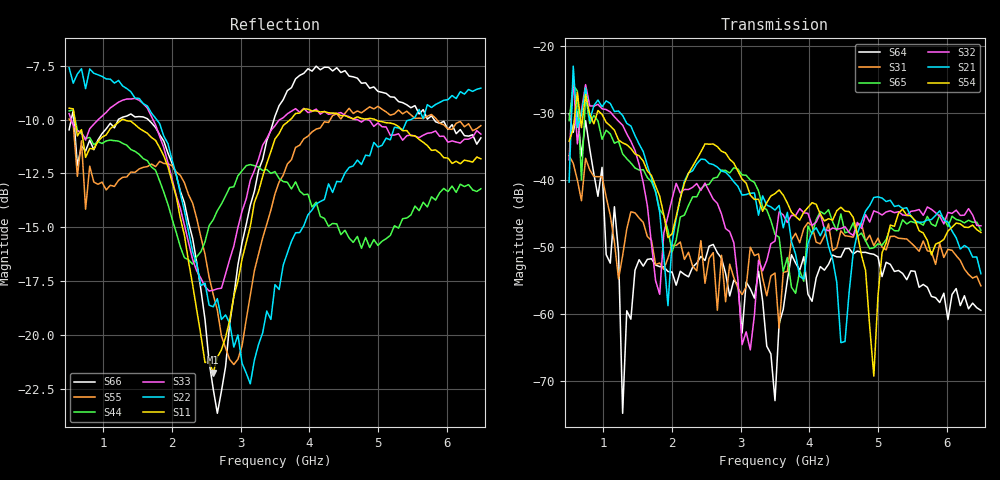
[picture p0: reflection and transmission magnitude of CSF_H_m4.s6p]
!Keysight Technologies,M9804A,MY58100912,A.14.10.03
!Date: Thursday, April 27, 2023 10:28:33
!Correction: S11(C  6-Port  )
!S12(C  6-Port  )
!S13(C  6-Port  )
!S14(C  6-Port  )
!S15(C  6-Port  )
!S16(C  6-Port  )
!S21(C  6-Port  )
!S22(C  6-Port  )
!S23(C  6-Port  )
!S24(C  6-Port  )
!S25(C  6-Port  )
!S26(C  6-Port  )
!S31(C  6-Port  )
!S32(C  6-Port  )
!S33(C  6-Port  )
!S34(C  6-Port  )
!S35(C  6-Port  )
!S36(C  6-Port  )
!S41(C  6-Port  )
!S42(C  6-Port  )
!S43(C  6-Port  )
!S44(C  6-Port  )
!S45(C  6-Port  )
!S46(C  6-Port  )
!S51(C  6-Port  )
!S52(C  6-Port  )
!S53(C  6-Port  )
!S54(C  6-Port  )
!S55(C  6-Port  )
!S56(C  6-Port  )
!S61(C  6-Port  )
!S62(C  6-Port  )
!S63(C  6-Port  )
!S64(C  6-Port  )
!S65(C  6-Port  )
!S66(C  6-Port  )
!S6P File: Measurement: :
# Hz S  RI  R 50
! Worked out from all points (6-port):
!   101 points, 500 MHz to 6.5 GHz, reference 50 ohm
!   strongest paths, dB at 500 MHz, 2 GHz, 3.5 GHz, 5 GHz, 6.5 GHz:
!     S54: -34.2, -48.1, -42.1, -57.4, -47.9
!     S21: -40.3, -49.4, -44.5, -42.5, -54.0
!     S32: -37.0, -42.9, -49.1, -44.9, -46.9
!     S65: -31.2, -50.7, -48.1, -49.5, -47.5
!     S31: -36.4, -49.8, -53.9, -48.7, -55.8
!     S64: -30.2, -53.7, -72.9, -51.5, -59.5
!   lowest |S11| = -21.8 dB at 2.6 GHz (marker M1), VSWR 1.18, Z = 42.7 + j1.94 ohm
!   |S11| at or under -10 dB: 584 MHz to 1.267 GHz (683.4 MHz wide, 73.8 % of centre); 1.303 GHz to 3.721 GHz (2.418 GHz wide, 96.3 % of centre); 4.962 GHz to end of sweep
